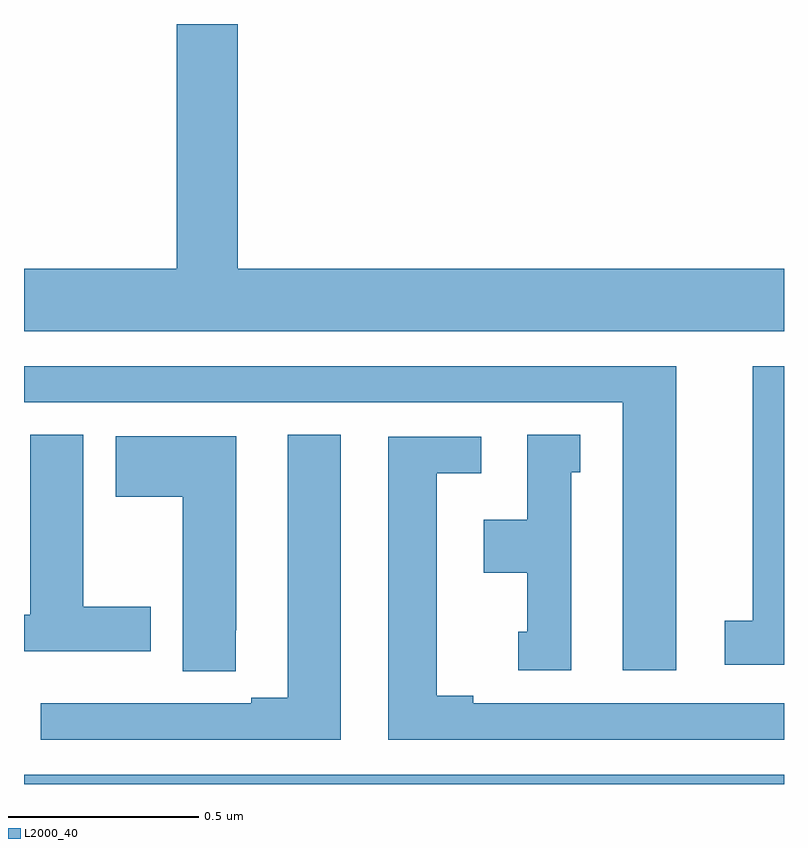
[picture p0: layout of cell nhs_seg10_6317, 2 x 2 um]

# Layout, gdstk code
import gdstk
lib = gdstk.Library(unit=1e-6, precision=1e-09)
def R(c, l, rs):  # rectangles x0, y0, x1, y1
    for r in rs: c.add(gdstk.rectangle(r[:2], r[2:], *l))
def P(c, l, *ps):  # polygons
    for p in ps: c.add(gdstk.Polygon(p, *l))
L2000_40 = (2000, 40)

nhs_seg10_6317 = lib.new_cell('nhs_seg10_6317')
R(nhs_seg10_6317, L2000_40, [(190,1256.5,192,1256.524)])
P(nhs_seg10_6317, L2000_40, [(192,1257.856),(190.562,1257.856),(190.562,1258.5),(190.402,1258.5),(190.402,1257.856),(190,1257.856),(190,1257.692),(192,1257.692)],
  [(192,1257.6),(191.918,1257.6),(191.918,1256.93),(191.844,1256.93),(191.844,1256.814),(192,1256.814)],
  [(191.716,1257.6),(190,1257.6),(190,1257.504),(191.576,1257.504),(191.576,1256.799),(191.716,1256.799)],
  [(190.333,1256.967),(190.156,1256.967),(190.156,1257.419),(190.017,1257.419),(190.017,1257.308),(190.016,1257.308),(190.016,1256.946),(190,1256.946),(190,1256.85),(190.333,1256.85)],
  [(191.44,1257.321),(191.464,1257.321),(191.464,1257.419),(191.324,1257.419),(191.324,1257.196),(191.21,1257.196),(191.21,1257.056),(191.324,1257.056),(191.324,1256.901),(191.3,1256.901),(191.3,1256.799),(191.44,1256.799)],
  [(190.834,1257.419),(190.694,1257.419),(190.694,1256.727),(190.598,1256.727),(190.598,1256.712),(190.322,1256.712),(190.322,1256.713),(190.156,1256.713),(190.156,1256.712),(190.044,1256.712),(190.044,1256.616),(190.834,1256.616)],
  [(190.557,1256.905),(190.558,1256.905),(190.558,1257.415),(190.241,1257.415),(190.241,1257.256),(190.418,1257.256),(190.418,1256.797),(190.557,1256.797)],
  [(192,1256.712),(191.182,1256.712),(191.182,1256.732),(191.086,1256.732),(191.086,1257.318),(191.203,1257.318),(191.203,1257.414),(190.958,1257.414),(190.958,1256.616),(192,1256.616)])

lib.write_gds('nhs_seg10_6317.gds')
